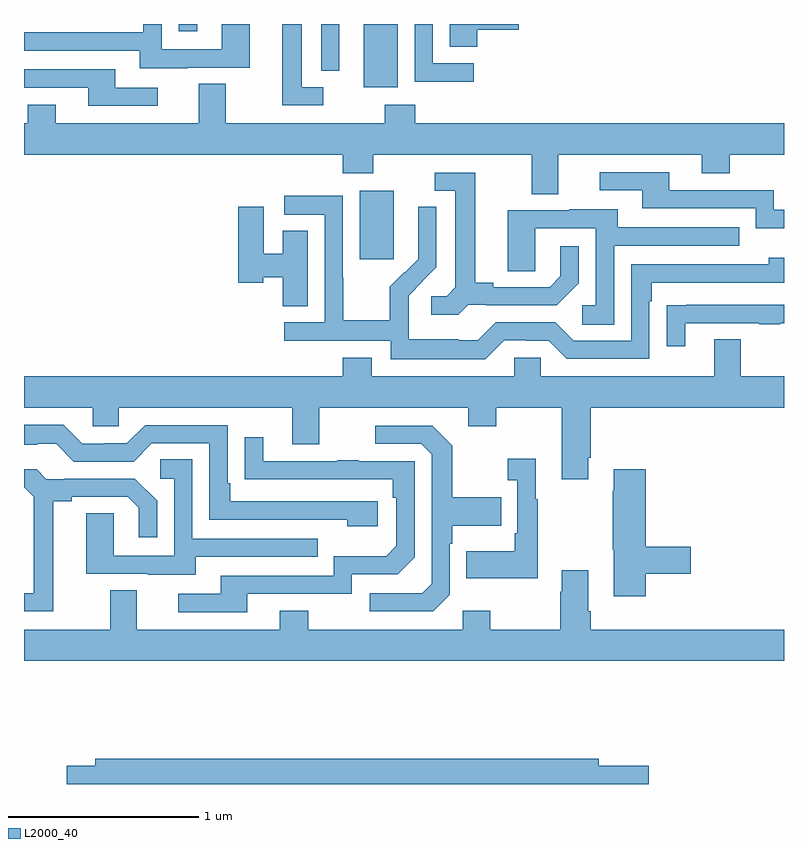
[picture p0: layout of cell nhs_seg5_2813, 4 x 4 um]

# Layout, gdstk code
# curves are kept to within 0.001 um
import gdstk
lib = gdstk.Library(unit=1e-6, precision=1e-09)
def R(c, l, rs):  # rectangles x0, y0, x1, y1
    for r in rs: c.add(gdstk.rectangle(r[:2], r[2:], *l))
def P(c, l, *ps):  # polygons
    for p in ps: c.add(gdstk.Polygon(p, *l))
L2000_40 = (2000, 40)

nhs_seg5_2813 = lib.new_cell('nhs_seg5_2813')
R(nhs_seg5_2813, L2000_40, [(276.767,837.561,276.946,837.922), (276.788,838.466,276.967,838.799), (275.814,838.761,275.911,838.799)])
P(nhs_seg5_2813, L2000_40, [(276.574,838.467),(276.463,838.467),(276.463,838.799),(276.359,838.799),(276.359,838.371),(276.574,838.371)],
  [(275.863,838.569),(276.187,838.569),(276.187,838.799),(276.042,838.799),(276.042,838.665),(275.724,838.665),(275.724,838.799),(275.628,838.799),(275.628,838.755),(275,838.755),(275,838.659),(275.609,838.659),(275.609,838.565),(275.863,838.565)],
  [(277.366,838.593),(277.152,838.593),(277.152,838.799),(277.056,838.799),(277.056,838.495),(277.366,838.495)],
  [(276.66,838.706),(276.659,838.706),(276.659,838.799),(276.564,838.799),(276.564,838.552),(276.66,838.552)],
  [(277.385,838.769),(277.603,838.769),(277.603,838.799),(277.241,838.799),(277.241,838.678),(277.385,838.678)],
  [(275.704,838.464),(275.479,838.464),(275.479,838.56),(275,838.56),(275,838.464),(275.339,838.464),(275.339,838.368),(275.704,838.368)],
  [(277.813,838.112),(278.567,838.112),(278.567,838.013),(278.715,838.013),(278.715,838.112),(279,838.112),(279,838.276),(277.058,838.276),(277.058,838.375),(276.898,838.375),(276.898,838.276),(276.061,838.276),(276.061,838.484),(275.921,838.484),(275.921,838.276),(275.167,838.276),(275.167,838.375),(275.02,838.375),(275.02,838.276),(275,838.276),(275,838.112),(276.677,838.112),(276.677,838.013),(276.837,838.013),(276.837,838.112),(277.673,838.112),(277.673,837.904),(277.813,837.904)],
  [(279,837.822),(278.946,837.822),(278.946,837.924),(278.395,837.924),(278.395,838.02),(278.031,838.02),(278.031,837.924),(278.255,837.924),(278.255,837.828),(278.85,837.828),(278.85,837.725),(279,837.725)],
  [(277.338,837.321),(277.432,837.321),(277.432,837.318),(277.804,837.318),(277.92,837.434),(277.92,837.628),(277.823,837.628),(277.823,837.471),(277.766,837.414),(277.471,837.414),(277.471,837.437),(277.375,837.437),(277.375,838.017),(277.161,838.017),(277.161,837.921),(277.271,837.921),(277.271,837.413),(277.224,837.366),(277.143,837.366),(277.143,837.269),(277.286,837.269)],
  [(277.527,837.135),(277.643,837.135),(277.643,837.132),(277.761,837.132),(277.857,837.036),(278.292,837.036),(278.292,837.341),(278.305,837.341),(278.305,837.438),(279,837.438),(279,837.568),(278.921,837.568),(278.921,837.534),(278.196,837.534),(278.196,837.132),(277.893,837.132),(277.797,837.228),(277.482,837.228),(277.389,837.135),(277.289,837.135),(277.289,837.139),(277.026,837.139),(277.026,837.273),(277.024,837.273),(277.024,837.37),(277.17,837.518),(277.17,837.836),(277.074,837.836),(277.074,837.682),(277.076,837.682),(277.076,837.56),(277.005,837.489),(277.002,837.492),(276.925,837.415),(276.925,837.241),(276.681,837.241),(276.681,837.464),(276.678,837.464),(276.678,837.894),(276.369,837.894),(276.369,837.795),(276.582,837.795),(276.582,837.228),(276.369,837.228),(276.369,837.132),(276.93,837.132),(276.93,837.035),(277.427,837.035)],
  [(276.493,837.71),(276.362,837.71),(276.362,837.589),(276.262,837.589),(276.262,837.838),(276.128,837.838),(276.128,837.437),(276.258,837.437),(276.258,837.467),(276.362,837.467),(276.362,837.313),(276.493,837.313)],
  [(278.106,837.633),(278.765,837.633),(278.765,837.729),(278.125,837.729),(278.125,837.823),(277.871,837.823),(277.871,837.819),(277.547,837.819),(277.547,837.499),(277.692,837.499),(277.692,837.723),(278.01,837.723),(278.01,837.318),(277.938,837.318),(277.938,837.217),(278.106,837.217)],
  [(278.479,837.225),(278.869,837.225),(278.869,837.22),(278.981,837.22),(278.981,837.225),(279,837.225),(279,837.321),(278.485,837.321),(278.485,837.32),(278.383,837.32),(278.383,837.102),(278.479,837.102)],
  [(277.969,836.515),(277.982,836.515),(277.982,836.78),(279,836.78),(279,836.944),(278.773,836.944),(278.773,837.139),(278.633,837.139),(278.633,836.944),(277.719,836.944),(277.719,837.042),(277.581,837.042),(277.581,836.944),(276.829,836.944),(276.829,837.043),(276.677,837.043),(276.677,836.944),(275,836.944),(275,836.78),(275.361,836.78),(275.361,836.682),(275.499,836.682),(275.499,836.78),(276.413,836.78),(276.413,836.586),(276.553,836.586),(276.553,836.78),(277.337,836.78),(277.337,836.681),(277.485,836.681),(277.485,836.78),(277.829,836.78),(277.829,836.403),(277.969,836.403)],
  [(276.862,836.286),(276.085,836.286),(276.085,836.383),(276.072,836.383),(276.072,836.688),(275.637,836.688),(275.541,836.592),(275.423,836.592),(275.423,836.589),(275.307,836.589),(275.207,836.689),(275,836.689),(275,836.585),(275.069,836.585),(275.069,836.589),(275.169,836.589),(275.262,836.496),(275.577,836.496),(275.673,836.592),(275.976,836.592),(275.976,836.19),(276.701,836.19),(276.701,836.156),(276.862,836.156)],
  [(277.242,835.794),(277.242,836.063),(277.255,836.063),(277.255,836.159),(277.511,836.159),(277.511,836.307),(277.255,836.307),(277.255,836.579),(277.149,836.685),(276.849,836.685),(276.849,836.589),(277.092,836.589),(277.146,836.535),(277.146,835.854),(277.095,835.803),(276.819,835.803),(276.819,835.707),(277.155,835.707)],
  [(276.175,835.8),(276.726,835.8),(276.726,835.902),(276.966,835.902),(277.056,835.992),(277.056,836.499),(276.761,836.499),(276.761,836.504),(276.649,836.504),(276.649,836.499),(276.259,836.499),(276.259,836.623),(276.163,836.623),(276.163,836.404),(276.94,836.403),(276.94,836.306),(276.96,836.306),(276.96,836.052),(276.907,835.999),(276.63,835.999),(276.63,835.896),(276.035,835.896),(276.035,835.8),(275.811,835.8),(275.811,835.704),(276.175,835.704)],
  [(277.705,836.299),(277.693,836.299),(277.693,836.512),(277.545,836.512),(277.545,836.399),(277.596,836.399),(277.596,836.119),(277.584,836.119),(277.584,836.023),(277.327,836.023),(277.327,835.883),(277.705,835.883)],
  [(275.905,835.995),(276.545,835.995),(276.545,836.091),(275.886,836.091),(275.886,836.507),(275.718,836.507),(275.718,836.406),(275.79,836.406),(275.79,836.001),(275.472,836.001),(275.472,836.225),(275.327,836.225),(275.327,835.905),(275.651,835.905),(275.651,835.901),(275.905,835.901)],
  [(275.155,836.288),(275.251,836.288),(275.251,836.31),(275.546,836.31),(275.603,836.253),(275.603,836.097),(275.7,836.097),(275.7,836.29),(275.584,836.406),(275.212,836.406),(275.212,836.403),(275.118,836.403),(275.066,836.455),(275,836.455),(275,836.358),(275.004,836.358),(275.051,836.311),(275.051,835.803),(275,835.803),(275,835.707),(275.155,835.707)],
  [(278.273,835.906),(278.509,835.906),(278.509,836.048),(278.273,836.048),(278.273,836.455),(278.105,836.455),(278.105,836.342),(278.098,836.342),(278.098,836.031),(278.105,836.031),(278.105,835.788),(278.273,835.788)],
  [(279,835.612),(277.982,835.612),(277.982,835.708),(277.969,835.708),(277.969,835.924),(277.829,835.924),(277.829,835.811),(277.822,835.811),(277.822,835.612),(277.455,835.612),(277.455,835.711),(277.308,835.711),(277.308,835.612),(276.495,835.612),(276.495,835.711),(276.347,835.711),(276.347,835.612),(275.593,835.612),(275.593,835.82),(275.453,835.82),(275.453,835.612),(275,835.612),(275,835.448),(279,835.448)],
  [(278.287,834.896),(278.026,834.896),(278.026,834.932),(275.375,834.932),(275.375,834.896),(275.226,834.896),(275.226,834.799),(278.287,834.799)])

lib.write_gds('nhs_seg5_2813.gds')
